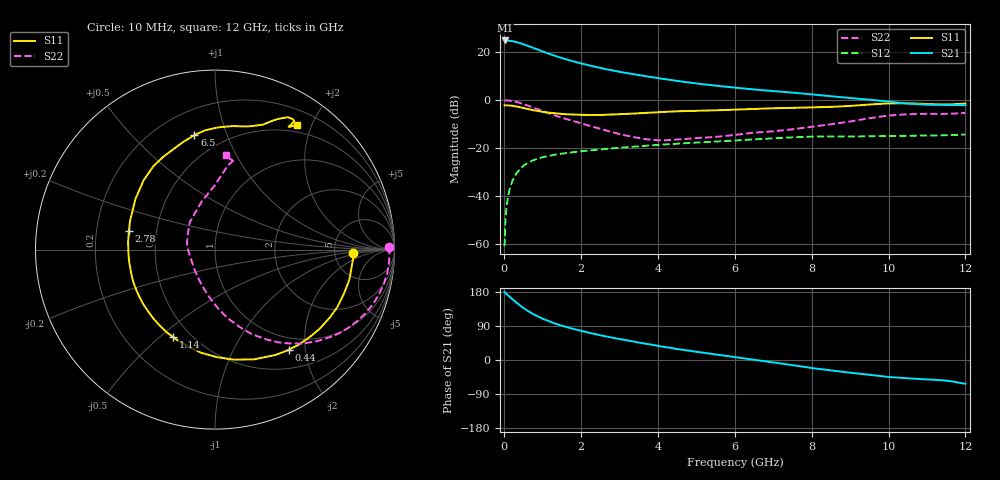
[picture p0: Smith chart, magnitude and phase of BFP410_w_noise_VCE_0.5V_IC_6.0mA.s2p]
! Infineon Technologies  Discrete & RF Semiconductors
! BFP410
! VCE =  0.5 V,  IC =  6.0 mA
! Common Emitter S-Parameters:  Nov 2015
# GHz  S  MA  R  50
!  f  S11  S21  S12  S22
! GHz  MAG  ANG  MAG  ANG  MAG  ANG  MAG  ANG
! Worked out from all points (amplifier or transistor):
!   243 points, 10 MHz to 12 GHz, reference 50 ohm
!   highest |S21| = 24.7 dB at 20 MHz (marker M1)
!   |S21| within 3 dB of that: start of sweep to 739.2 MHz
!   unconditionally stable (mu >= 1): 2.75 GHz to end of sweep
!   at 240 MHz: K = 0.13, MSG = 28.6 dB, |S12| = -32.9 dB
!   at 1.84 GHz: K = 0.74, MSG = 18.7 dB, |S12| = -21.7 dB
!   at 12 GHz: K = 1.03, MAG = 5.1 dB, |S12| = -14.5 dB
!   lowest NFmin = 1.06 dB at 900 MHz
!   S11 on the Smith chart (normalised r, x): 10 MHz: 7.51, -0.63; 440 MHz: 0.79, -1.70; 1.14 GHz: 0.40, -0.55; 2.78 GHz: 0.34, +0.09; 6.5 GHz: 0.35, +0.77; 12 GHz: 0.40, +1.78
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0.01  0.7664 -1.3  16.9 179.5  0.0009 86.5  0.9683 0.8
0.02  0.7732 -2.4  17.18 178.0  0.0019 90.2  0.9723 -1.3
0.1  0.7672 -12.7  17.06 170.8  0.0098 83.8  0.9685 -7.9
0.2  0.7532 -25.3  16.66 161.6  0.0192 77.2  0.9455 -15.7
0.24  0.7435 -30.2  16.37 157.9  0.0227 74.6  0.9325 -18.7
0.34  0.7194 -42.2  15.7 149.6  0.031 69.0  0.8925 -25.8
0.44  0.6931 -53.5  14.85 141.7  0.0383 63.8  0.8458 -32.4
0.6  0.649 -70.4  13.39 130.2  0.0479 56.8  0.7648 -41.8
0.7  0.6222 -80.2  12.52 124.2  0.0529 53.0  0.7158 -47.0
0.9  0.5801 -97.6  10.88 113.4  0.0608 47.0  0.6245 -55.8
1.14  0.5403 -115.7  9.235 103.1  0.0678 41.8  0.5309 -64.5
1.3  0.5235 -126.3  8.336 96.9  0.0717 39.0  0.4791 -69.7
1.5  0.5066 -137.7  7.391 90.5  0.0759 36.5  0.4246 -75.2
1.7  0.4966 -148.3  6.629 84.5  0.0797 34.3  0.3796 -80.4
2.02  0.4861 -162.8  5.66 76.4  0.0854 31.4  0.3211 -87.9
2.78  0.491 168.0  4.136 59.5  0.0972 25.8  0.2149 -109.1
4.1  0.5573 134.1  2.75 35.6  0.1169 17.5  0.1436 -161.7
6.1  0.6294 105.1  1.759 6.3  0.1436 4.7  0.1899 140.1
6.5  0.6481 100.2  1.642 0.6  0.1496 2.0  0.2073 132.7
8.2  0.7003 78.9  1.248 -23.7  0.1714 -13.9  0.2882 102.6
10.2  0.844 60.1  0.881 -46.2  0.1765 -27.7  0.4824 80.5
12  0.8316 56.8  0.774 -62.8  0.1892 -40.5  0.5331 83.2
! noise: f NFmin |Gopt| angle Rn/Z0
0.45  1.09  0.2  1  0.22
0.9  1.06  0.19  15  0.18
1.8  1.21  0.13  52  0.16
2.4  1.21  0.11  50  0.19
5.5  2.12  0.32  -125  0.21
10  3.36  0.67  -51  1.79
